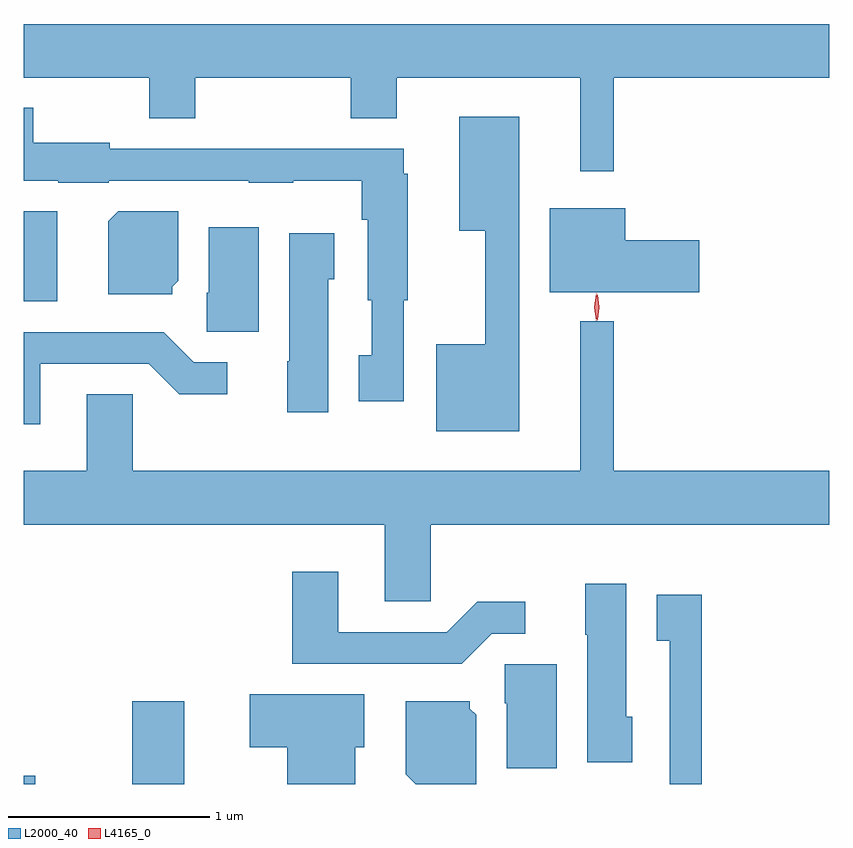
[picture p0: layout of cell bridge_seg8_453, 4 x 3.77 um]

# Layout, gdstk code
import gdstk
lib = gdstk.Library(unit=1e-6, precision=1e-09)
def R(c, l, rs):  # rectangles x0, y0, x1, y1
    for r in rs: c.add(gdstk.rectangle(r[:2], r[2:], *l))
def P(c, l, *ps):  # polygons
    for p in ps: c.add(gdstk.Polygon(p, *l))
L2000_40 = (2000, 40)
L4165_0 = (4165, 0)

bridge_seg8_453 = lib.new_cell('bridge_seg8_453')
R(bridge_seg8_453, L2000_40, [(595.458,1895.069,595.514,1895.109), (595.996,1895.069,596.254,1895.479), (595.458,1897.466,595.624,1897.914)])
P(bridge_seg8_453, L2000_40, [(598.389,1898.576),(599.458,1898.576),(599.458,1898.844),(595.458,1898.844),(595.458,1898.576),(596.081,1898.576),(596.081,1898.376),(596.309,1898.376),(596.309,1898.576),(597.081,1898.576),(597.081,1898.376),(597.309,1898.376),(597.309,1898.576),(598.221,1898.576),(598.221,1898.113),(598.389,1898.113)],
  [(597.344,1897.471),(597.364,1897.471),(597.364,1898.099),(597.344,1898.099),(597.344,1898.224),(595.884,1898.224),(595.884,1898.254),(595.504,1898.254),(595.504,1898.428),(595.458,1898.428),(595.458,1898.066),(595.63,1898.066),(595.63,1898.056),(595.88,1898.056),(595.88,1898.066),(596.575,1898.066),(596.575,1898.056),(596.795,1898.056),(596.795,1898.066),(597.136,1898.066),(597.136,1897.871),(597.166,1897.871),(597.166,1897.471),(597.186,1897.471),(597.186,1897.199),(597.121,1897.199),(597.121,1896.971),(597.344,1896.971)],
  [(597.919,1898.384),(597.621,1898.384),(597.621,1897.816),(597.751,1897.816),(597.751,1897.254),(597.506,1897.254),(597.506,1896.821),(597.919,1896.821)],
  [(598.814,1897.769),(598.444,1897.769),(598.444,1897.929),(598.071,1897.929),(598.071,1897.511),(598.814,1897.511)],
  [(596.194,1897.539),(596.224,1897.569),(596.224,1897.914),(595.927,1897.914),(595.876,1897.864),(595.876,1897.501),(596.194,1897.501)],
  [(596.624,1897.834),(596.376,1897.834),(596.376,1897.51),(596.366,1897.51),(596.366,1897.316),(596.624,1897.316)],
  [(596.969,1897.576),(596.999,1897.576),(596.999,1897.804),(596.776,1897.804),(596.776,1897.17),(596.766,1897.17),(596.766,1896.916),(596.969,1896.916)],
  [(597.479,1896.356),(599.458,1896.356),(599.458,1896.624),(598.389,1896.624),(598.389,1897.368),(598.221,1897.368),(598.221,1896.624),(595.999,1896.624),(595.999,1897.004),(595.771,1897.004),(595.771,1896.624),(595.458,1896.624),(595.458,1896.356),(597.251,1896.356),(597.251,1895.976),(597.479,1895.976)],
  [(595.539,1897.156),(596.079,1897.156),(596.229,1897.006),(596.468,1897.006),(596.468,1897.164),(596.302,1897.164),(596.152,1897.314),(595.458,1897.314),(595.458,1896.856),(595.539,1896.856)],
  [(597.782,1895.816),(597.948,1895.816),(597.948,1895.974),(597.709,1895.974),(597.559,1895.824),(597.019,1895.824),(597.019,1896.124),(596.791,1896.124),(596.791,1895.666),(597.632,1895.666)],
  [(598.479,1895.404),(598.449,1895.404),(598.449,1896.064),(598.246,1896.064),(598.246,1895.81),(598.256,1895.81),(598.256,1895.176),(598.479,1895.176)],
  [(598.824,1896.009),(598.601,1896.009),(598.601,1895.781),(598.666,1895.781),(598.666,1895.069),(598.824,1895.069)],
  [(598.104,1895.664),(597.846,1895.664),(597.846,1895.47),(597.856,1895.47),(597.856,1895.146),(598.104,1895.146)],
  [(597.104,1895.251),(597.149,1895.251),(597.149,1895.514),(596.581,1895.514),(596.581,1895.251),(596.766,1895.251),(596.766,1895.069),(597.104,1895.069)],
  [(597.704,1895.412),(597.674,1895.442),(597.674,1895.479),(597.356,1895.479),(597.356,1895.117),(597.404,1895.069),(597.704,1895.069)])
P(bridge_seg8_453, L4165_0, [(598.302,1897.37),(598.302,1897.37),(598.292,1897.438),(598.301,1897.505),(598.301,1897.506),(598.302,1897.505),(598.312,1897.438),(598.302,1897.37)],
  [(598.307,1897.373),(598.307,1897.374),(598.298,1897.436),(598.307,1897.5),(598.307,1897.5),(598.308,1897.5),(598.317,1897.436),(598.308,1897.374)])

lib.write_gds('bridge_seg8_453.gds')
